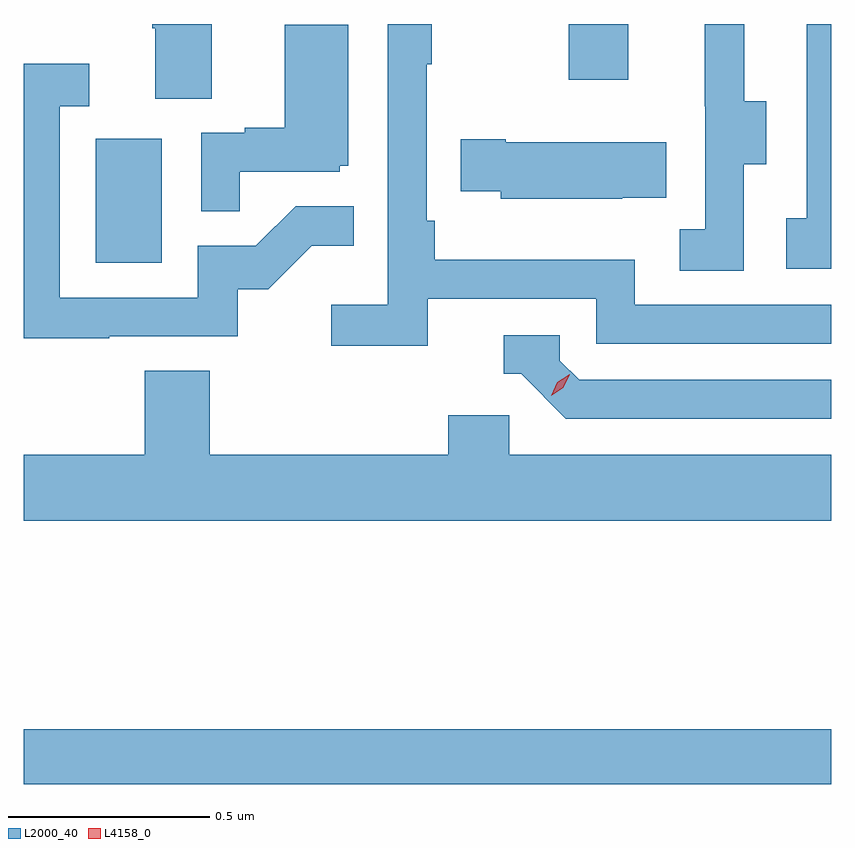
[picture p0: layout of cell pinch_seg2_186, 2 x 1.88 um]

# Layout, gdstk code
import gdstk
lib = gdstk.Library(unit=1e-6, precision=1e-09)
def R(c, l, rs):  # rectangles x0, y0, x1, y1
    for r in rs: c.add(gdstk.rectangle(r[:2], r[2:], *l))
def P(c, l, *ps):  # polygons
    for p in ps: c.add(gdstk.Polygon(p, *l))
L2000_40 = (2000, 40)
L4158_0 = (4158, 0)

pinch_seg2_186 = lib.new_cell('pinch_seg2_186')
R(pinch_seg2_186, L2000_40, [(1106.866,631,1108.866,631.136), (1107.044,632.292,1107.208,632.599), (1108.216,632.745,1108.363,632.883)])
P(pinch_seg2_186, L2000_40, [(1107.184,632.872),(1107.191,632.872),(1107.191,632.698),(1107.331,632.698),(1107.331,632.883),(1107.184,632.883)],
  [(1107.866,632.202),(1108.284,632.202),(1108.284,632.091),(1108.866,632.091),(1108.866,632.187),(1108.38,632.187),(1108.38,632.299),(1107.884,632.299),(1107.884,632.395),(1107.864,632.395),(1107.864,632.783),(1107.877,632.783),(1107.877,632.883),(1107.768,632.883),(1107.768,632.188),(1107.627,632.188),(1107.627,632.086),(1107.866,632.086)],
  [(1108.65,632.536),(1108.705,632.536),(1108.705,632.691),(1108.651,632.691),(1108.651,632.883),(1108.553,632.883),(1108.553,632.679),(1108.554,632.679),(1108.554,632.375),(1108.491,632.375),(1108.491,632.272),(1108.65,632.272)],
  [(1108.866,632.883),(1108.806,632.883),(1108.806,632.402),(1108.755,632.402),(1108.755,632.277),(1108.866,632.277)],
  [(1107.401,632.517),(1107.648,632.517),(1107.648,632.532),(1107.67,632.532),(1107.67,632.881),(1107.512,632.881),(1107.512,632.626),(1107.413,632.626),(1107.413,632.613),(1107.306,632.613),(1107.306,632.419),(1107.401,632.419)],
  [(1107.077,632.109),(1107.396,632.109),(1107.396,632.226),(1107.472,632.226),(1107.579,632.333),(1107.683,632.333),(1107.683,632.432),(1107.539,632.432),(1107.441,632.334),(1107.297,632.334),(1107.297,632.205),(1106.955,632.205),(1106.955,632.679),(1107.028,632.679),(1107.028,632.785),(1106.866,632.785),(1106.866,632.104),(1107.077,632.104)],
  [(1108.349,632.453),(1108.457,632.453),(1108.457,632.59),(1108.06,632.59),(1108.06,632.598),(1107.949,632.598),(1107.949,632.468),(1108.047,632.468),(1108.047,632.45),(1108.349,632.45)],
  [(1108.866,632.001),(1108.242,632.001),(1108.194,632.049),(1108.194,632.112),(1108.055,632.112),(1108.055,632.016),(1108.098,632.016),(1108.209,631.905),(1108.866,631.905)],
  [(1108.866,631.816),(1108.068,631.816),(1108.068,631.914),(1107.917,631.914),(1107.917,631.816),(1107.326,631.816),(1107.326,632.024),(1107.166,632.024),(1107.166,631.816),(1106.866,631.816),(1106.866,631.652),(1108.866,631.652)])
P(pinch_seg2_186, L4158_0, [(1108.172,631.962),(1108.172,631.962),(1108.187,631.995),(1108.218,632.015),(1108.218,632.015),(1108.218,632.015),(1108.202,631.982),(1108.172,631.962)])

lib.write_gds('pinch_seg2_186.gds')
